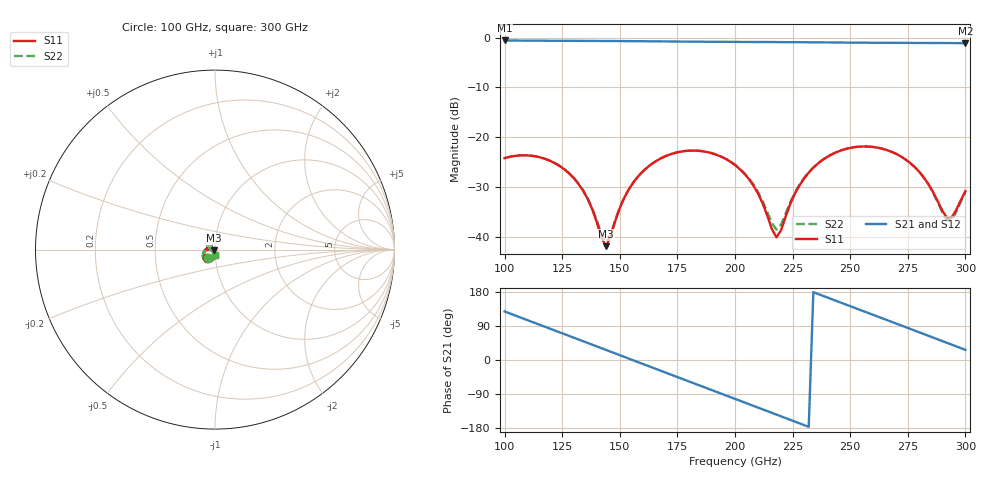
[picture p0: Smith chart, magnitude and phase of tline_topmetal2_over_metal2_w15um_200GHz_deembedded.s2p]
! Created with skrf 2.2.0 (http://scikit-rf.org).
# GHz S DB R 50.0
! Port[1] = P1
! Port[2] = P2
!freq dBS11 angS11 dBS21 angS21 dBS12 angS12 dBS22 angS22
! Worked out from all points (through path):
!   101 points, 100 GHz to 300 GHz, reference 50 ohm
!   highest |S21| = -0.58 dB at 100 GHz (marker M1); lowest = -1.1 dB at 300 GHz (marker M2)
!   group delay of S21, straight-line fit = 6.41 ps
!   lowest |S11| = -41.8 dB at 144 GHz (marker M3), VSWR 1.02, Z = 49.3 - j0.46 ohm
!   |S11| at or under -10 dB: start of sweep to end of sweep
!   |S22| runs from -41.0 to -21.8 dB; largest |S21 - S12| = 1.9e-14
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100  -24.16 -132.7  -0.58 128.0  -0.58 128.0  -24.15 -132.2
108  -23.59 -149.8  -0.61 109.6  -0.61 109.6  -23.57 -149.2
116  -24.08 -166.7  -0.63 91.2  -0.63 91.2  -24.05 -165.9
126  -26.43 173.7  -0.65 68.2  -0.65 68.2  -26.38 174.8
134  -30.63 162.3  -0.67 49.7  -0.67 49.7  -30.52 163.9
144  -41.79 -145.0  -0.69 26.6  -0.69 26.6  -41.00 -145.6
154  -30.34 -93.5  -0.72 3.5  -0.72 3.5  -30.31 -94.4
168  -24.15 -116.0  -0.77 -28.9  -0.77 -28.9  -24.14 -115.9
184  -22.68 -148.2  -0.83 -65.7  -0.83 -65.7  -22.65 -147.4
192  -23.48 -164.2  -0.85 -84.1  -0.85 -84.1  -23.44 -163.0
200  -25.53 -178.9  -0.87 -102.5  -0.87 -102.5  -25.46 -177.2
210  -31.25 170.0  -0.89 -125.6  -0.89 -125.6  -30.97 173.5
218  -40.01 -140.4  -0.91 -144.1  -0.91 -144.1  -38.46 -140.9
226  -31.27 -87.4  -0.93 -162.6  -0.93 -162.6  -31.08 -91.1
234  -26.07 -94.7  -0.95 179.0  -0.95 179.0  -26.03 -96.7
250  -22.11 -123.8  -1.01 142.1  -1.01 142.1  -22.09 -124.7
260  -21.92 -143.2  -1.04 119.1  -1.04 119.1  -21.91 -143.8
268  -22.89 -158.1  -1.06 100.7  -1.06 100.7  -22.88 -158.6
280  -26.91 -175.6  -1.08 73.0  -1.08 73.0  -26.93 -176.3
292  -36.10 -142.8  -1.10 45.3  -1.10 45.3  -36.57 -143.7
294  -36.04 -121.3  -1.11 40.6  -1.11 40.6  -36.56 -120.5
300  -30.76 -89.7  -1.12 26.8  -1.12 26.8  -30.93 -87.5
